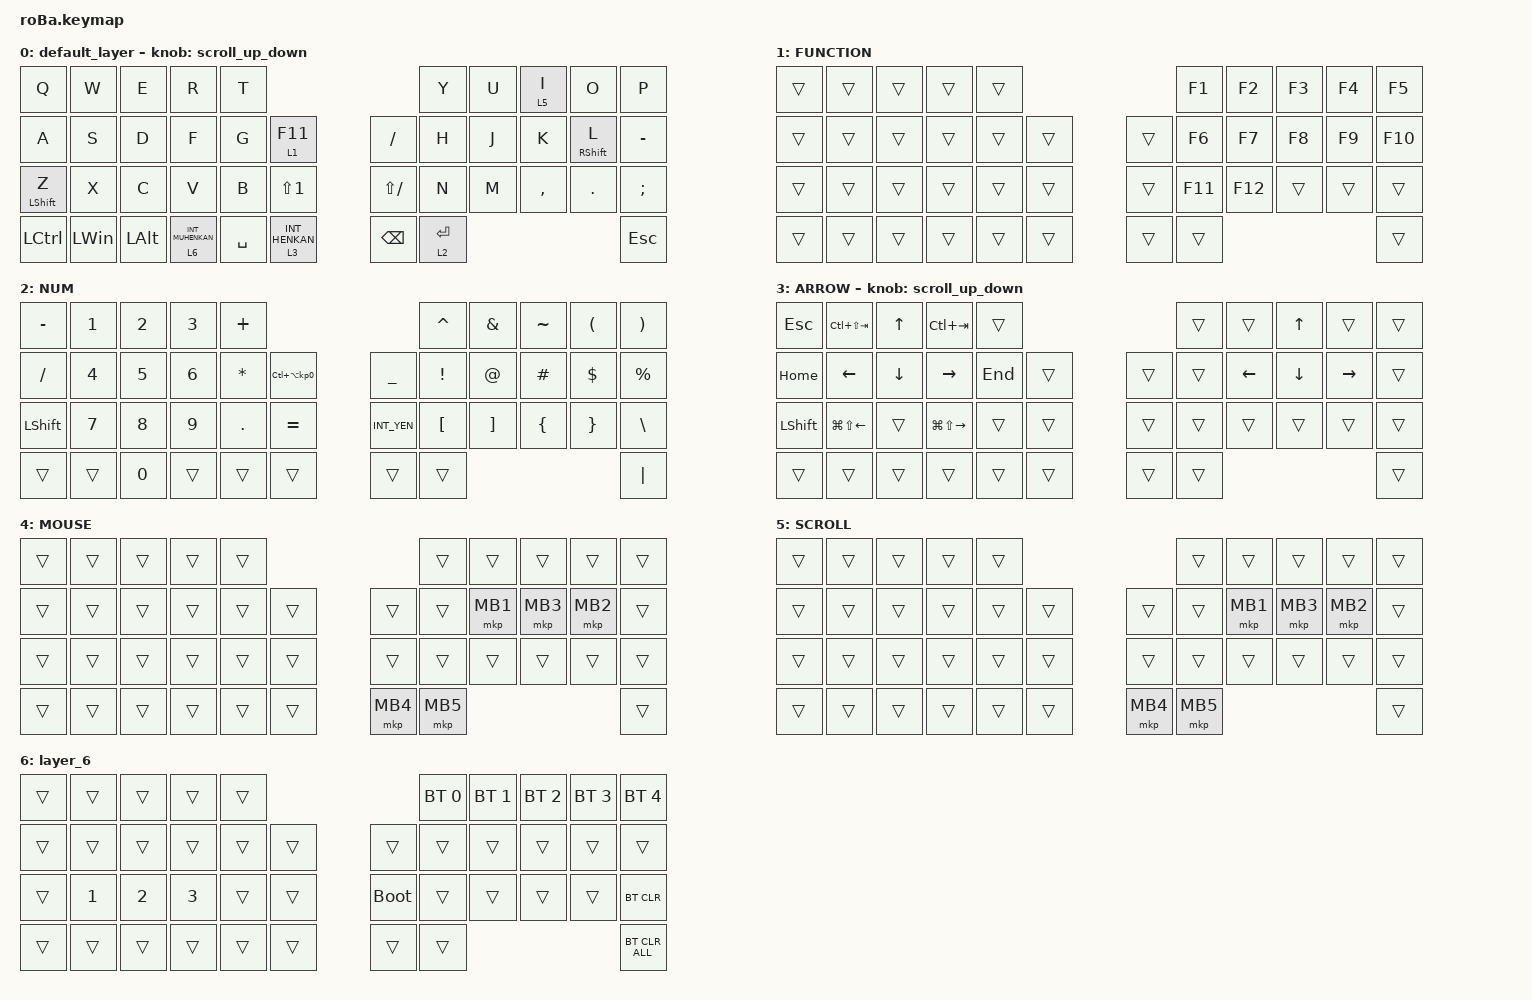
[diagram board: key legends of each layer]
#include <behaviors.dtsi>
#include <dt-bindings/zmk/bt.h>
#include <dt-bindings/zmk/keys.h>
#include <dt-bindings/zmk/pointing.h>

#define ZMK_POINTING_DEFAULT_SCRL_VAL 100

&mt {
    flavor = "balanced";
    quick-tap-ms = <0>;
};

&trackball {
    automouse-layer = <4>;
    scroll-layers = <5>;

    // arrows {
    //     layers = <3>;
    //     bindings =
    //         <&kp RIGHT_ARROW>,
    //         <&kp LEFT_ARROW>,
    //         <&kp UP_ARROW>,
    //         <&kp DOWN_ARROW>;
    //     tick = <10>;
    //     wait-ms = <5>;
    //     tap-ms = <5>;
    // };
};

/ {
    combos {
        compatible = "zmk,combos";

        tab {
            bindings = <&kp TAB>;
            key-positions = <11 12>;
        };

        shift_tab {
            bindings = <&kp LS(TAB)>;
            key-positions = <12 13>;
        };

        double_quotation {
            bindings = <&kp DOUBLE_QUOTES>;
            key-positions = <20 21>;
        };
    };

    macros {
        to_layer_0: to_layer_0 {
            compatible = "zmk,behavior-macro-one-param";
            #binding-cells = <1>;
            bindings = <&to 0 &macro_param_1to1 &kp MACRO_PLACEHOLDER>;
            label = "TO_LAYER_0";
        };
    };

    behaviors {
        scroll_up_down: behavior_sensor_rotate_mouse_wheel_up_down {
            compatible = "zmk,behavior-sensor-rotate";
            #sensor-binding-cells = <0>;
            bindings = <&msc SCRL_UP>, <&msc SCRL_DOWN>;

            // 追加: スクロールのタップ時間を設定 (20ms)

            tap-ms = <20>;
        };

        lt_to_layer_0: lt_to_layer_0 {
            compatible = "zmk,behavior-hold-tap";
            label = "LAYER_TAP_TO_0";
            bindings = <&mo>, <&to_layer_0>;

            #binding-cells = <2>;
            tapping-term-ms = <200>;
        };
    };

    keymap {
        compatible = "zmk,keymap";

        default_layer {
            bindings = <
&kp Q             &kp W         &kp E         &kp R                          &kp T                                                      &kp Y        &kp U  &lt 5 I    &kp O         &kp P
&kp A             &kp S         &kp D         &kp F                          &kp G      &lt_to_layer_0 1 F11             &kp SLASH      &kp H        &kp J  &kp K      &mt RSHIFT L  &kp MINUS
&mt LEFT_SHIFT Z  &kp X         &kp C         &kp V                          &kp B      &kp LS(N1)                       &kp LS(SLASH)  &kp N        &kp M  &kp COMMA  &kp DOT       &kp SEMI
&kp LCTRL         &kp LEFT_WIN  &kp LEFT_ALT  &lt_to_layer_0 6 INT_MUHENKAN  &kp SPACE  &lt_to_layer_0 3 INT_HENKAN      &kp BACKSPACE  &lt 2 ENTER                                  &kp ESCAPE
            >;

            sensor-bindings = <&scroll_up_down>;
        };

        FUNCTION {
            bindings = <
&trans  &trans  &trans  &trans  &trans                      &kp F1   &kp F2   &kp F3  &kp F4  &kp F5
&trans  &trans  &trans  &trans  &trans  &trans      &trans  &kp F6   &kp F7   &kp F8  &kp F9  &kp F10
&trans  &trans  &trans  &trans  &trans  &trans      &trans  &kp F11  &kp F12  &trans  &trans  &trans
&trans  &trans  &trans  &trans  &trans  &trans      &trans  &trans                            &trans
            >;
        };

        NUM {
            bindings = <
&kp MINUS       &kp N1  &kp N2  &kp N3  &kp PLUS                                                   &kp CARET         &kp AMPERSAND      &kp TILDE       &kp LEFT_PARENTHESIS  &kp RIGHT_PARENTHESIS
&kp SLASH       &kp N4  &kp N5  &kp N6  &kp ASTERISK  &kp LC(LA(KP_NUMBER_0))      &kp UNDERSCORE  &kp EXCLAMATION   &kp AT_SIGN        &kp HASH        &kp DOLLAR            &kp PERCENT
&kp LEFT_SHIFT  &kp N7  &kp N8  &kp N9  &kp PERIOD    &kp EQUAL                    &kp INT_YEN     &kp LEFT_BRACKET  &kp RIGHT_BRACKET  &kp LEFT_BRACE  &kp RIGHT_BRACE       &kp BACKSLASH
&trans          &trans  &kp N0  &trans  &trans        &trans                       &trans          &trans                                                                     &kp PIPE
            >;
        };

        ARROW {
            bindings = <
&kp ESCAPE      &kp LC(LS(TAB))         &kp UP_ARROW    &kp LC(TAB)              &trans                       &trans  &trans          &kp UP_ARROW    &trans           &trans
&kp HOME        &kp LEFT_ARROW          &kp DOWN_ARROW  &kp RIGHT_ARROW          &kp END  &trans      &trans  &trans  &kp LEFT_ARROW  &kp DOWN_ARROW  &kp RIGHT_ARROW  &trans
&kp LEFT_SHIFT  &kp LG(LS(LEFT_ARROW))  &trans          &kp LG(LS(RIGHT_ARROW))  &trans   &trans      &trans  &trans  &trans          &trans          &trans           &trans
&trans          &trans                  &trans          &trans                   &trans   &trans      &trans  &trans                                                   &trans
            >;

            sensor-bindings = <&scroll_up_down>;
        };

        MOUSE {
            bindings = <
&trans  &trans  &trans  &trans  &trans                        &trans    &trans    &trans    &trans    &trans
&trans  &trans  &trans  &trans  &trans  &trans      &trans    &trans    &mkp MB1  &mkp MB3  &mkp MB2  &trans
&trans  &trans  &trans  &trans  &trans  &trans      &trans    &trans    &trans    &trans    &trans    &trans
&trans  &trans  &trans  &trans  &trans  &trans      &mkp MB4  &mkp MB5                                &trans
            >;
        };

        SCROLL {
            bindings = <
&trans  &trans  &trans  &trans  &trans                        &trans    &trans    &trans    &trans    &trans
&trans  &trans  &trans  &trans  &trans  &trans      &trans    &trans    &mkp MB1  &mkp MB3  &mkp MB2  &trans
&trans  &trans  &trans  &trans  &trans  &trans      &trans    &trans    &trans    &trans    &trans    &trans
&trans  &trans  &trans  &trans  &trans  &trans      &mkp MB4  &mkp MB5                                &trans
            >;
        };

        layer_6 {
            bindings = <
&trans  &trans        &trans        &trans        &trans                           &bt BT_SEL 0  &bt BT_SEL 1  &bt BT_SEL 2  &bt BT_SEL 3  &bt BT_SEL 4
&trans  &trans        &trans        &trans        &trans  &trans      &trans       &trans        &trans        &trans        &trans        &trans
&trans  &kp NUMBER_1  &kp NUMBER_2  &kp NUMBER_3  &trans  &trans      &bootloader  &trans        &trans        &trans        &trans        &bt BT_CLR
&trans  &trans        &trans        &trans        &trans  &trans      &trans       &trans                                                  &bt BT_CLR_ALL
            >;
        };
    };
};
